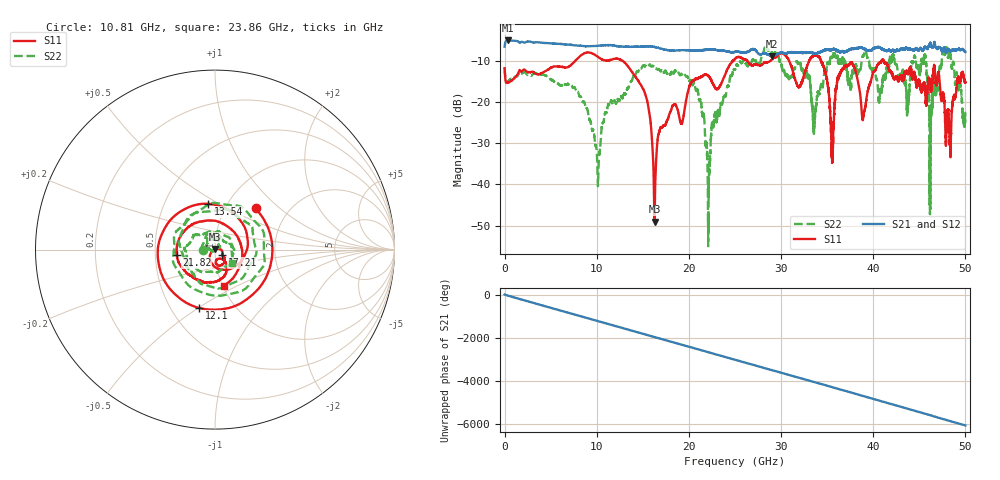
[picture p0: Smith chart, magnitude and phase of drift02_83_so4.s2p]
!Created with skrf (http://scikit-rf.org).
# Hz S RI R 50.0
!freq ReS11 ImS11 ReS21 ImS21 ReS12 ImS12 ReS22 ImS22
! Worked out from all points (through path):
!   10001 points, 300 kHz to 50 GHz, reference 50 ohm
!   highest |S21| = -5.04 dB at 325.3 MHz (marker M1); lowest = -8.9 dB at 28.98 GHz (marker M2)
!   group delay of S21, straight-line fit = 336 ps
!   lowest |S11| = -49.0 dB at 16.27 GHz (marker M3), VSWR 1.01, Z = 49.8 + j0.314 ohm
!   |S11| at or under -10 dB: start of sweep to 7.666 GHz; 12.82 GHz to 24.77 GHz (11.95 GHz wide, 63.6 % of centre); 41.13 GHz to end of sweep (the widest 3 of 11)
!   |S22| runs from -55.0 to -6.7 dB; largest |S21 - S12| = 0.032
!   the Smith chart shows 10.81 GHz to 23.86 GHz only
!   S11 on the Smith chart (normalised r, x): 10.81 GHz: 1.38, +0.70; 12.1 GHz: 0.69, -0.50; 13.54 GHz: 0.82, +0.45; 17.21 GHz: 1.08, -0.06; 21.82 GHz: 0.65, -0.04; 23.86 GHz: 1.01, -0.42
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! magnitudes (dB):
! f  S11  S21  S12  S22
! 300 kHz  -11.8  -6.5  -6.5  -11.7
! 325.3 MHz  -15.3  -5.0  -5.0  -15.1
! 8.335 GHz  -8.6  -6.4  -6.4  -19.1
! 10.11 GHz  -9.0  -6.3  -6.3  -39.3
! 10.81 GHz  -9.8  -6.2  -6.2  -23.7
! 12.1 GHz  -9.5  -6.4  -6.4  -20.4
! 13.54 GHz  -11.8  -6.6  -6.6  -15.9
! 16.27 GHz  -49.0  -6.6  -6.6  -11.7
! 16.67 GHz  -28.0  -6.8  -6.8  -12.1
! 17.21 GHz  -25.8  -7.2  -7.1  -12.7
! 21.82 GHz  -13.3  -7.3  -7.3  -30.5
! 23.86 GHz  -13.7  -7.6  -7.5  -18.3
! 25 GHz  -9.5  -7.8  -7.8  -12.0
! 28.98 GHz  -9.8  -8.9  -8.9  -7.9
! 33.34 GHz  -9.1  -8.0  -8.0  -20.2
! 35.55 GHz  -32.2  -7.2  -7.2  -9.1
! 36.79 GHz  -11.7  -7.8  -7.8  -10.1
! 41.67 GHz  -11.8  -7.4  -7.5  -12.1
! 45.5 GHz  -15.5  -6.9  -6.9  -9.8
! 46.25 GHz  -17.3  -6.1  -6.1  -22.8
! 48.12 GHz  -21.9  -7.1  -7.1  -9.1
! 50 GHz  -15.2  -7.9  -7.8  -22.6
